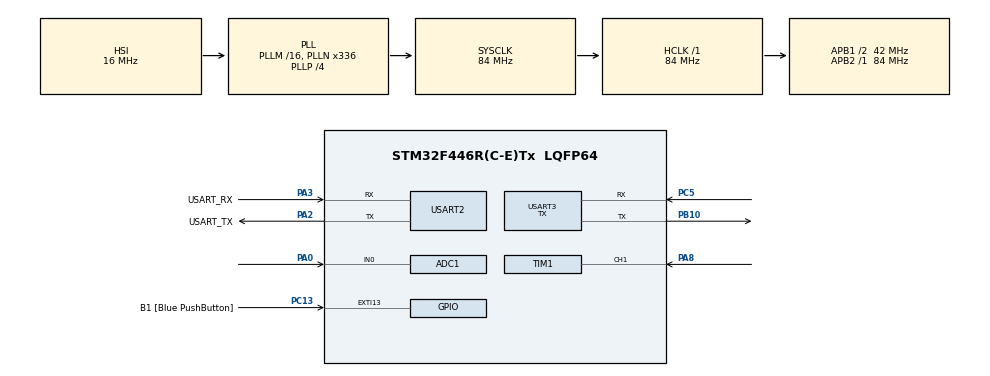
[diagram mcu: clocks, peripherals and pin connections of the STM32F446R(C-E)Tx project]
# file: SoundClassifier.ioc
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ADC1.Channel-0\#ChannelRegularConversion=ADC_CHANNEL_0
ADC1.ContinuousConvMode=DISABLE
ADC1.DMAContinuousRequests=ENABLE
ADC1.ExternalTrigConv=ADC_EXTERNALTRIGCONV_T1_CC1
ADC1.NbrOfConversionFlag=1
ADC1.Rank-0\#ChannelRegularConversion=1
ADC1.SamplingTime-0\#ChannelRegularConversion=ADC_SAMPLETIME_3CYCLES
ADC1.master=1
Dma.ADC1.0.Direction=DMA_PERIPH_TO_MEMORY
Dma.ADC1.0.FIFOMode=DMA_FIFOMODE_DISABLE
Dma.ADC1.0.Instance=DMA2_Stream4
Dma.ADC1.0.MemDataAlignment=DMA_MDATAALIGN_HALFWORD
Dma.ADC1.0.MemInc=DMA_MINC_ENABLE
Dma.ADC1.0.Mode=DMA_NORMAL
Dma.ADC1.0.PeriphDataAlignment=DMA_PDATAALIGN_HALFWORD
Dma.ADC1.0.PeriphInc=DMA_PINC_DISABLE
Dma.ADC1.0.Priority=DMA_PRIORITY_VERY_HIGH
Dma.Request0=ADC1
Dma.Request1=USART3_TX
Dma.USART3_TX.1.Direction=DMA_MEMORY_TO_PERIPH
Dma.USART3_TX.1.FIFOMode=DMA_FIFOMODE_DISABLE
Dma.USART3_TX.1.Instance=DMA1_Stream3
Dma.USART3_TX.1.MemDataAlignment=DMA_MDATAALIGN_BYTE
Dma.USART3_TX.1.MemInc=DMA_MINC_ENABLE
Dma.USART3_TX.1.Mode=DMA_NORMAL
Dma.USART3_TX.1.PeriphDataAlignment=DMA_PDATAALIGN_BYTE
Dma.USART3_TX.1.PeriphInc=DMA_PINC_DISABLE
Dma.USART3_TX.1.Priority=DMA_PRIORITY_LOW
Mcu.Family=STM32F4
Mcu.Name=STM32F446R(C-E)Tx
Mcu.Package=LQFP64
NVIC.DMA1_Stream3_IRQn=true\:0\:0\:false\:false\:true\:false\:true\:true
NVIC.DMA2_Stream4_IRQn=true\:0\:0\:false\:false\:true\:false\:true\:true
NVIC.EXTI15_10_IRQn=true\:0\:0\:false\:false\:true\:true\:true\:true
NVIC.PriorityGroup=NVIC_PRIORITYGROUP_0
NVIC.TIM1_UP_TIM10_IRQn=true\:0\:0\:false\:false\:true\:true\:true\:true
NVIC.USART2_IRQn=true\:0\:0\:false\:false\:true\:true\:true\:true
NVIC.USART3_IRQn=true\:0\:0\:false\:false\:true\:true\:true\:true
PA0-WKUP.Signal=ADCx_IN0
PA13.GPIO_Label=TMS
PA13.Mode=Serial_Wire
PA13.Signal=SYS_JTMS-SWDIO
PA14.GPIO_Label=TCK
PA14.Mode=Serial_Wire
PA14.Signal=SYS_JTCK-SWCLK
PA2.GPIO_Label=USART_TX
PA2.Mode=Asynchronous
PA2.Signal=USART2_TX
PA3.GPIO_Label=USART_RX
PA3.Mode=Asynchronous
PA3.Signal=USART2_RX
PA8.Signal=S_TIM1_CH1
PB10.Mode=Asynchronous
PB10.Signal=USART3_TX
PB3.GPIO_Label=SWO
PB3.Signal=SYS_JTDO-SWO
PC13.GPIO_Label=B1 [Blue PushButton]
PC13.GPIO_ModeDefaultEXTI=GPIO_MODE_IT_FALLING
PC13.Signal=GPXTI13
PC14-OSC32_IN.Mode=LSE-External-Oscillator
PC14-OSC32_IN.Signal=RCC_OSC32_IN
PC15-OSC32_OUT.Mode=LSE-External-Oscillator
PC15-OSC32_OUT.Signal=RCC_OSC32_OUT
PC5.Mode=Asynchronous
PC5.Signal=USART3_RX
PH0-OSC_IN.Mode=HSE-External-Oscillator
PH0-OSC_IN.Signal=RCC_OSC_IN
PH1-OSC_OUT.Mode=HSE-External-Oscillator
PH1-OSC_OUT.Signal=RCC_OSC_OUT
ProjectManager.HeapSize=0x200
ProjectManager.StackSize=0x400
ProjectManager.TargetToolchain=STM32CubeIDE
RCC.48MHZClocksFreq_Value=84000000
RCC.AHBFreq_Value=84000000
RCC.APB1CLKDivider=RCC_HCLK_DIV2
RCC.APB1Freq_Value=42000000
RCC.APB1TimFreq_Value=84000000
RCC.APB2Freq_Value=84000000
RCC.APB2TimFreq_Value=84000000
RCC.CortexFreq_Value=84000000
RCC.FLatency-AdvancedSettings=FLASH_LATENCY_2
RCC.HCLKFreq_Value=84000000
RCC.HSE_VALUE=8000000
RCC.HSI_VALUE=16000000
RCC.PLLN=336
RCC.PLLP=RCC_PLLP_DIV4
RCC.SYSCLKFreq_VALUE=84000000
RCC.SYSCLKSource=RCC_SYSCLKSOURCE_PLLCLK
RCC.USBFreq_Value=168000000
RCC.VCOOutputFreq_Value=336000000
SH.ADCx_IN0.0=ADC1_IN0,IN0
SH.S_TIM1_CH1.0=TIM1_CH1,TriggerSource_TI1FP1
TIM1.Slave_TriggerFilter=15
TIM1.Slave_TriggerPolarity=TIM_TRIGGERPOLARITY_FALLING
TIM1.TIM_MasterOutputTrigger=TIM_TRGO_UPDATE
TIM1.TIM_MasterSlaveMode=TIM_MASTERSLAVEMODE_ENABLE
USART2.VirtualMode=VM_ASYNC
USART3.Mode=MODE_TX
USART3.VirtualMode=VM_ASYNC
VP_TIM1_VS_ClockSourceINT.Mode=Internal
VP_TIM1_VS_ControllerModeTrigger.Mode=Trigger Mode
VP_TIM1_VS_OPM.Mode=OPM_bit
board=NUCLEO-F446RE

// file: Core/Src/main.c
/* USER CODE BEGIN Header */
/**
  ******************************************************************************
  * @file           : main.c
  * @brief          : Main program body
  ******************************************************************************
  * @attention
  *
  * Copyright (c) 2026 STMicroelectronics.
  * All rights reserved.
  *
  * This software is licensed under terms that can be found in the LICENSE file
  * in the root directory of this software component.
  * If no LICENSE file comes with this software, it is provided AS-IS.
  *
  ******************************************************************************
  */
/* USER CODE END Header */
#include "main.h"

/* USER CODE BEGIN Includes */

#include <stdint.h>

/* USER CODE END Includes */

/* USER CODE BEGIN PTD */

typedef struct {
	uint16_t energy; // the amount of energy produced by the sound
	uint16_t zcr; // rate of sound's inversion from positive to negative
} featureVector; // vector to hold extracted features from raw data

/* USER CODE END PTD */

/* USER CODE BEGIN PD */

#define SAMPLE_BUFFER_SIZE 100
#define TRANSMIT_BUFFER_SIZE 200
#define SAMPLING_MESSAGE "Sampling has started.\nSampling has ended.\n"
#define START_MESSAGE_LENGTH 22
#define END_MESSAGE_LENGTH 20

/* USER CODE END PD */

ADC_HandleTypeDef hadc1;
DMA_HandleTypeDef hdma_adc1;

TIM_HandleTypeDef htim1;

UART_HandleTypeDef huart2;
UART_HandleTypeDef huart3;
DMA_HandleTypeDef hdma_usart3_tx;

/* USER CODE BEGIN PV */

volatile int half_full = 0; // flag for half full sample buffer DMA interrupt
volatile int full = 0; // flag for full sample buffer DMA interrupt

uint16_t sample_buffer[SAMPLE_BUFFER_SIZE]; // buffer to hold raw samples
featureVector transmit_buffer[TRANSMIT_BUFFER_SIZE]; // buffer to hold feature vectors

/* USER CODE END PV */

void SystemClock_Config(void);
static void MX_GPIO_Init(void);
static void MX_DMA_Init(void);
static void MX_USART2_UART_Init(void);
static void MX_ADC1_Init(void);
static void MX_TIM1_Init(void);
static void MX_USART3_UART_Init(void);

/* USER CODE BEGIN 0 */

// Raises flag whenever sample buffer is half full and DMA interrupt fires
void HAL_ADC_ConvHalfCpltCallback(ADC_HandleTypeDef* hadc){
	if(hadc->Instance == ADC1){
		half_full = 1;
	}
}

// Raises flag whenever sample buffer is completely full and DMA interrupt fires
void HAL_ADC_ConvCpltCallback(ADC_HandleTypeDef* hadc){
	if(hadc->Instance == ADC1){
		full = 1;
	}
}

// Interrupt when the timer detects the trigger falling edge
void HAL_TIM_Trigger_Callback(TIM_HandleTypeDef* htim){
	if(htim->Instance == TIM1){
		// Start DMA transfer of sampling start notification to UART port
		HAL_UART_Transmit_DMA(&huart3, (uint8_t*)SAMPLING_MESSAGE, START_MESSAGE_LENGTH);
	}
}

// Interrupts when timer overflows
void HAL_TIM_PeriodElapsedCallback(TIM_HandleTypeDef* htim){
	if(htim->Instance == TIM1){
		// Manually stop timer 1 to prevent looping
		HAL_TIM_Base_Stop_IT(htim);
		// Manually stop ADC-DMA transfer (stop recording samples) to setup for next sampling period
		HAL_ADC_Stop_DMA(&hadc1);

		// Start DMA transfer of sampling end notification to UART
		HAL_UART_Transmit_DMA(&huart3, (uint8_t*)SAMPLING_MESSAGE + START_MESSAGE_LENGTH, END_MESSAGE_LENGTH);

		// Re-arm DMA by linking it to sampling buffer to hold ADC conversions
		HAL_ADC_Start_DMA(&hadc1, (uint32_t*)sample_buffer, SAMPLE_BUFFER_SIZE);
		// Re-arm timer 1
		HAL_TIM_Base_Start_IT(htim);
	}
}

/* USER CODE END 0 */

int main(void)
{

  /* MCU Configuration--------------------------------------------------------*/

  /* Reset of all peripherals, Initializes the Flash interface and the Systick. */
  HAL_Init();

  /* Configure the system clock */
  SystemClock_Config();

  /* Initialize all configured peripherals */
  MX_GPIO_Init();
  MX_DMA_Init();
  MX_USART2_UART_Init();
  MX_ADC1_Init();
  MX_TIM1_Init();
  MX_USART3_UART_Init();

  /* Infinite loop */
  while (1)
  {

  }
}

void SystemClock_Config(void)
{
  RCC_OscInitTypeDef RCC_OscInitStruct = {0};
  RCC_ClkInitTypeDef RCC_ClkInitStruct = {0};

  /** Configure the main internal regulator output voltage
  */
  __HAL_RCC_PWR_CLK_ENABLE();
  __HAL_PWR_VOLTAGESCALING_CONFIG(PWR_REGULATOR_VOLTAGE_SCALE3);

  /** Initializes the RCC Oscillators according to the specified parameters
  * in the RCC_OscInitTypeDef structure.
  */
  RCC_OscInitStruct.OscillatorType = RCC_OSCILLATORTYPE_HSI;
  RCC_OscInitStruct.HSIState = RCC_HSI_ON;
  RCC_OscInitStruct.HSICalibrationValue = RCC_HSICALIBRATION_DEFAULT;
  RCC_OscInitStruct.PLL.PLLState = RCC_PLL_ON;
  RCC_OscInitStruct.PLL.PLLSource = RCC_PLLSOURCE_HSI;
  RCC_OscInitStruct.PLL.PLLM = 16;
  RCC_OscInitStruct.PLL.PLLN = 336;
  RCC_OscInitStruct.PLL.PLLP = RCC_PLLP_DIV4;
  RCC_OscInitStruct.PLL.PLLQ = 2;
  RCC_OscInitStruct.PLL.PLLR = 2;
  if (HAL_RCC_OscConfig(&RCC_OscInitStruct) != HAL_OK)
  {
    Error_Handler();
  }

  /** Initializes the CPU, AHB and APB buses clocks
  */
  RCC_ClkInitStruct.ClockType = RCC_CLOCKTYPE_HCLK|RCC_CLOCKTYPE_SYSCLK
                              |RCC_CLOCKTYPE_PCLK1|RCC_CLOCKTYPE_PCLK2;
  RCC_ClkInitStruct.SYSCLKSource = RCC_SYSCLKSOURCE_PLLCLK;
  RCC_ClkInitStruct.AHBCLKDivider = RCC_SYSCLK_DIV1;
  RCC_ClkInitStruct.APB1CLKDivider = RCC_HCLK_DIV2;
  RCC_ClkInitStruct.APB2CLKDivider = RCC_HCLK_DIV1;

  if (HAL_RCC_ClockConfig(&RCC_ClkInitStruct, FLASH_LATENCY_2) != HAL_OK)
  {
    Error_Handler();
  }
}

static void MX_ADC1_Init(void)
{

  ADC_ChannelConfTypeDef sConfig = {0};

  /** Configure the global features of the ADC (Clock, Resolution, Data Alignment and number of conversion)
  */
  hadc1.Instance = ADC1;
  hadc1.Init.ClockPrescaler = ADC_CLOCK_SYNC_PCLK_DIV4;
  hadc1.Init.Resolution = ADC_RESOLUTION_12B;
  hadc1.Init.ScanConvMode = DISABLE;
  hadc1.Init.ContinuousConvMode = DISABLE;
  hadc1.Init.DiscontinuousConvMode = DISABLE;
  hadc1.Init.ExternalTrigConvEdge = ADC_EXTERNALTRIGCONVEDGE_RISING;
  hadc1.Init.ExternalTrigConv = ADC_EXTERNALTRIGCONV_T1_CC1;
  hadc1.Init.DataAlign = ADC_DATAALIGN_RIGHT;
  hadc1.Init.NbrOfConversion = 1;
  hadc1.Init.DMAContinuousRequests = ENABLE;
  hadc1.Init.EOCSelection = ADC_EOC_SINGLE_CONV;
  if (HAL_ADC_Init(&hadc1) != HAL_OK)
  {
    Error_Handler();
  }

  /** Configure for the selected ADC regular channel its corresponding rank in the sequencer and its sample time.
  */
  sConfig.Channel = ADC_CHANNEL_0;
  sConfig.Rank = 1;
  sConfig.SamplingTime = ADC_SAMPLETIME_3CYCLES;
  if (HAL_ADC_ConfigChannel(&hadc1, &sConfig) != HAL_OK)
  {
    Error_Handler();
  }

}

static void MX_TIM1_Init(void)
{

  TIM_ClockConfigTypeDef sClockSourceConfig = {0};
  TIM_SlaveConfigTypeDef sSlaveConfig = {0};
  TIM_MasterConfigTypeDef sMasterConfig = {0};

  htim1.Instance = TIM1;
  htim1.Init.Prescaler = 0;
  htim1.Init.CounterMode = TIM_COUNTERMODE_UP;
  htim1.Init.Period = 65535;
  htim1.Init.ClockDivision = TIM_CLOCKDIVISION_DIV1;
  htim1.Init.RepetitionCounter = 0;
  htim1.Init.AutoReloadPreload = TIM_AUTORELOAD_PRELOAD_DISABLE;
  if (HAL_TIM_Base_Init(&htim1) != HAL_OK)
  {
    Error_Handler();
  }
  sClockSourceConfig.ClockSource = TIM_CLOCKSOURCE_INTERNAL;
  if (HAL_TIM_ConfigClockSource(&htim1, &sClockSourceConfig) != HAL_OK)
  {
    Error_Handler();
  }
  if (HAL_TIM_OnePulse_Init(&htim1, TIM_OPMODE_SINGLE) != HAL_OK)
  {
    Error_Handler();
  }
  sSlaveConfig.SlaveMode = TIM_SLAVEMODE_TRIGGER;
  sSlaveConfig.InputTrigger = TIM_TS_TI1FP1;
  sSlaveConfig.TriggerPolarity = TIM_TRIGGERPOLARITY_FALLING;
  sSlaveConfig.TriggerFilter = 15;
  if (HAL_TIM_SlaveConfigSynchro(&htim1, &sSlaveConfig) != HAL_OK)
  {
    Error_Handler();
  }
  sMasterConfig.MasterOutputTrigger = TIM_TRGO_UPDATE;
  sMasterConfig.MasterSlaveMode = TIM_MASTERSLAVEMODE_ENABLE;
  if (HAL_TIMEx_MasterConfigSynchronization(&htim1, &sMasterConfig) != HAL_OK)
  {
    Error_Handler();
  }

}

static void MX_USART2_UART_Init(void)
{

  huart2.Instance = USART2;
  huart2.Init.BaudRate = 115200;
  huart2.Init.WordLength = UART_WORDLENGTH_8B;
  huart2.Init.StopBits = UART_STOPBITS_1;
  huart2.Init.Parity = UART_PARITY_NONE;
  huart2.Init.Mode = UART_MODE_TX_RX;
  huart2.Init.HwFlowCtl = UART_HWCONTROL_NONE;
  huart2.Init.OverSampling = UART_OVERSAMPLING_16;
  if (HAL_UART_Init(&huart2) != HAL_OK)
  {
    Error_Handler();
  }

}

static void MX_USART3_UART_Init(void)
{

  huart3.Instance = USART3;
  huart3.Init.BaudRate = 115200;
  huart3.Init.WordLength = UART_WORDLENGTH_8B;
  huart3.Init.StopBits = UART_STOPBITS_1;
  huart3.Init.Parity = UART_PARITY_NONE;
  huart3.Init.Mode = UART_MODE_TX;
  huart3.Init.HwFlowCtl = UART_HWCONTROL_NONE;
  huart3.Init.OverSampling = UART_OVERSAMPLING_16;
  if (HAL_UART_Init(&huart3) != HAL_OK)
  {
    Error_Handler();
  }

}

static void MX_DMA_Init(void)
{

  /* DMA controller clock enable */
  __HAL_RCC_DMA2_CLK_ENABLE();
  __HAL_RCC_DMA1_CLK_ENABLE();

  /* DMA interrupt init */
  /* DMA1_Stream3_IRQn interrupt configuration */
  HAL_NVIC_SetPriority(DMA1_Stream3_IRQn, 0, 0);
  HAL_NVIC_EnableIRQ(DMA1_Stream3_IRQn);
  /* DMA2_Stream4_IRQn interrupt configuration */
  HAL_NVIC_SetPriority(DMA2_Stream4_IRQn, 0, 0);
  HAL_NVIC_EnableIRQ(DMA2_Stream4_IRQn);

}

static void MX_GPIO_Init(void)
{
  GPIO_InitTypeDef GPIO_InitStruct = {0};

  /* GPIO Ports Clock Enable */
  __HAL_RCC_GPIOC_CLK_ENABLE();
  __HAL_RCC_GPIOH_CLK_ENABLE();
  __HAL_RCC_GPIOA_CLK_ENABLE();
  __HAL_RCC_GPIOB_CLK_ENABLE();

  /*Configure GPIO pin : B1_Pin */
  GPIO_InitStruct.Pin = B1_Pin;
  GPIO_InitStruct.Mode = GPIO_MODE_IT_FALLING;
  GPIO_InitStruct.Pull = GPIO_NOPULL;
  HAL_GPIO_Init(B1_GPIO_Port, &GPIO_InitStruct);

  /* EXTI interrupt init*/
  HAL_NVIC_SetPriority(EXTI15_10_IRQn, 0, 0);
  HAL_NVIC_EnableIRQ(EXTI15_10_IRQn);

}

void Error_Handler(void)
{
  __disable_irq();
  while (1)
  {
  }
}
